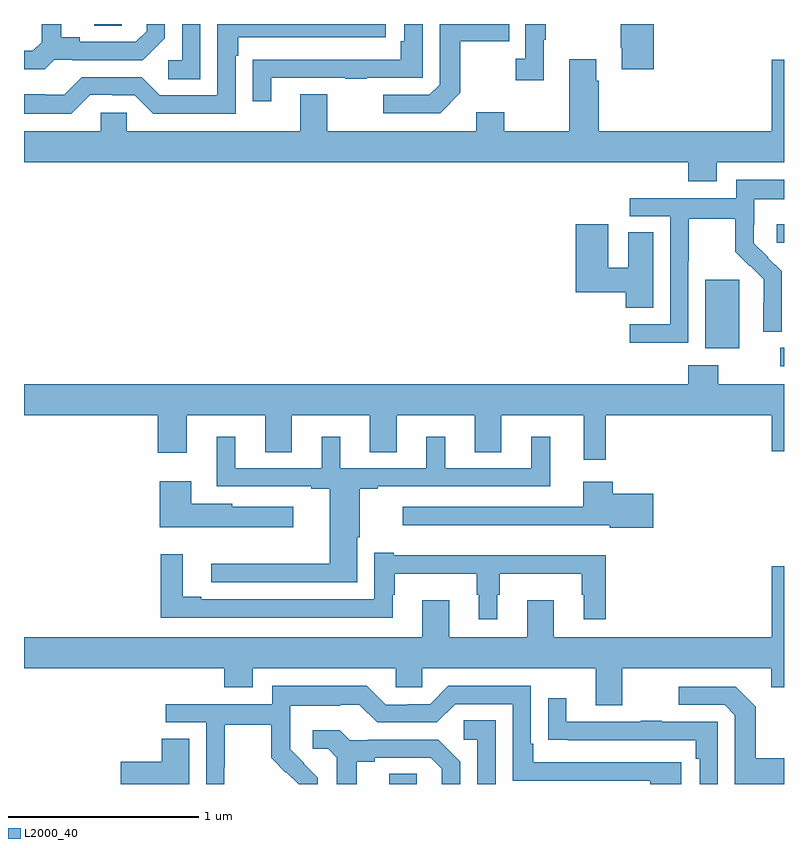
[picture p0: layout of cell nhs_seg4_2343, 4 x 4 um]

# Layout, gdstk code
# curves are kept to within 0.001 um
import gdstk
lib = gdstk.Library(unit=1e-6, precision=1e-09)
def R(c, l, rs):  # rectangles x0, y0, x1, y1
    for r in rs: c.add(gdstk.rectangle(r[:2], r[2:], *l))
def P(c, l, *ps):  # polygons
    for p in ps: c.add(gdstk.Polygon(p, *l))
L2000_40 = (2000, 40)

nhs_seg4_2343 = lib.new_cell('nhs_seg4_2343')
R(nhs_seg4_2343, L2000_40, [(234.923,774.9,235.068,774.953), (236.979,777.099,237,777.195), (236.585,777.194,236.764,777.555), (236.961,777.75,237,777.847), (233.369,778.891,233.514,778.9)])
P(nhs_seg4_2343, L2000_40, [(233.16,778.713),(233.254,778.713),(233.254,778.71),(233.626,778.71),(233.742,778.826),(233.742,778.9),(233.645,778.9),(233.645,778.863),(233.588,778.806),(233.293,778.806),(233.293,778.829),(233.197,778.829),(233.197,778.9),(233.093,778.9),(233.093,778.805),(233.046,778.758),(233,778.758),(233,778.661),(233.108,778.661)],
  [(234.301,778.617),(234.691,778.617),(234.691,778.612),(234.803,778.612),(234.803,778.617),(235.098,778.617),(235.098,778.9),(235.002,778.9),(235.002,778.81),(234.982,778.81),(234.982,778.713),(234.307,778.713),(234.307,778.712),(234.205,778.712),(234.205,778.494),(234.301,778.494)],
  [(235.735,778.817),(235.747,778.817),(235.747,778.9),(235.638,778.9),(235.638,778.718),(235.587,778.718),(235.587,778.605),(235.735,778.605)],
  [(235.297,778.537),(235.297,778.81),(235.553,778.81),(235.553,778.9),(235.188,778.9),(235.188,778.581),(235.134,778.527),(234.891,778.527),(234.891,778.431),(235.191,778.431)],
  [(233.349,778.527),(233.465,778.527),(233.465,778.524),(233.583,778.524),(233.679,778.428),(234.114,778.428),(234.114,778.733),(234.127,778.733),(234.127,778.83),(234.904,778.83),(234.904,778.9),(234.018,778.9),(234.018,778.524),(233.715,778.524),(233.619,778.62),(233.304,778.62),(233.211,778.527),(233.111,778.527),(233.111,778.531),(233,778.531),(233,778.427),(233.249,778.427)],
  [(233.928,778.9),(233.832,778.9),(233.832,778.71),(233.76,778.71),(233.76,778.609),(233.928,778.609)],
  [(236.315,778.9),(236.14,778.9),(236.14,778.774),(236.147,778.774),(236.147,778.662),(236.315,778.662)],
  [(233.403,778.434),(233.403,778.336),(233,778.336),(233,778.172),(236.495,778.172),(236.495,778.073),(236.647,778.073),(236.647,778.172),(237,778.172),(237,778.711),(236.936,778.711),(236.936,778.336),(236.024,778.336),(236.024,778.601),(236.011,778.601),(236.011,778.714),(235.871,778.714),(235.871,778.336),(235.527,778.336),(235.527,778.435),(235.379,778.435),(235.379,778.336),(234.595,778.336),(234.595,778.531),(234.455,778.531),(234.455,778.336),(233.541,778.336),(233.541,778.434)],
  [(236.496,777.652),(236.499,777.652),(236.499,777.876),(236.743,777.876),(236.743,777.701),(236.82,777.624),(236.823,777.627),(236.894,777.557),(236.894,777.434),(236.892,777.434),(236.892,777.28),(236.988,777.28),(236.988,777.598),(236.842,777.746),(236.842,777.843),(236.844,777.843),(236.844,777.977),(237,777.977),(237,778.081),(236.748,778.081),(236.748,777.984),(236.187,777.984),(236.187,777.888),(236.4,777.888),(236.4,777.321),(236.187,777.321),(236.187,777.223),(236.496,777.223)],
  [(236.311,777.803),(236.18,777.803),(236.18,777.616),(236.074,777.616),(236.074,777.847),(235.904,777.847),(235.904,777.487),(236.168,777.487),(236.168,777.406),(236.311,777.406)],
  [(236.063,776.84),(236.936,776.84),(236.936,776.652),(237,776.652),(237,777.004),(236.655,777.004),(236.655,777.103),(236.495,777.103),(236.495,777.004),(233,777.004),(233,776.84),(233.705,776.84),(233.705,776.643),(233.857,776.643),(233.857,776.84),(234.269,776.84),(234.269,776.647),(234.409,776.647),(234.409,776.84),(234.821,776.84),(234.821,776.647),(234.961,776.647),(234.961,776.84),(235.373,776.84),(235.373,776.647),(235.513,776.647),(235.513,776.84),(235.946,776.84),(235.946,776.607),(236.063,776.607)],
  [(234.754,776.199),(234.766,776.199),(234.766,776.454),(234.862,776.454),(234.862,776.466),(235.769,776.466),(235.769,776.728),(235.67,776.728),(235.67,776.562),(235.216,776.562),(235.216,776.728),(235.118,776.728),(235.118,776.562),(234.664,776.562),(234.664,776.728),(234.566,776.728),(234.566,776.562),(234.112,776.562),(234.112,776.728),(234.014,776.728),(234.014,776.466),(234.512,776.466),(234.512,776.454),(234.608,776.454),(234.608,776.06),(233.985,776.06),(233.985,775.962),(234.754,775.962)],
  [(234.418,776.359),(234.096,776.359),(234.096,776.374),(233.881,776.374),(233.881,776.494),(233.714,776.494),(233.714,776.252),(234.418,776.252)],
  [(236.311,776.427),(236.099,776.427),(236.099,776.491),(235.943,776.491),(235.943,776.358),(234.993,776.358),(234.993,776.261),(236.082,776.261),(236.082,776.249),(236.311,776.249)],
  [(235.492,775.895),(235.504,775.895),(235.504,776.006),(235.935,776.006),(235.935,775.895),(235.946,775.895),(235.946,775.767),(236.063,775.767),(236.063,776.104),(234.946,776.104),(234.946,776.116),(234.843,776.116),(234.843,775.872),(233.932,775.872),(233.932,775.885),(233.836,775.885),(233.836,776.11),(233.719,776.11),(233.719,775.776),(234.94,775.776),(234.94,775.895),(234.952,775.895),(234.952,776.006),(235.383,776.006),(235.383,775.895),(235.394,775.895),(235.394,775.767),(235.492,775.767)],
  [(236.149,775.508),(236.933,775.508),(236.933,775.409),(237,775.409),(237,776.047),(236.936,776.047),(236.936,775.672),(235.789,775.672),(235.789,775.867),(235.649,775.867),(235.649,775.672),(235.237,775.672),(235.237,775.867),(235.097,775.867),(235.097,775.672),(233,775.672),(233,775.508),(234.053,775.508),(234.053,775.409),(234.205,775.409),(234.205,775.508),(234.957,775.508),(234.957,775.41),(235.095,775.41),(235.095,775.508),(236.009,775.508),(236.009,775.314),(236.149,775.314)],
  [(234.054,774.988),(234.057,774.988),(234.057,775.212),(234.301,775.212),(234.301,775.037),(234.378,774.96),(234.381,774.963),(234.445,774.9),(234.546,774.9),(234.546,774.934),(234.4,775.082),(234.4,775.179),(234.402,775.179),(234.402,775.313),(234.665,775.313),(234.665,775.317),(234.765,775.317),(234.858,775.224),(235.173,775.224),(235.269,775.32),(235.572,775.32),(235.572,774.918),(236.297,774.918),(236.297,774.9),(236.458,774.9),(236.458,775.014),(235.681,775.014),(235.681,775.111),(235.668,775.111),(235.668,775.416),(235.233,775.416),(235.137,775.32),(235.019,775.32),(235.019,775.317),(234.903,775.317),(234.803,775.417),(234.306,775.417),(234.306,775.32),(233.745,775.32),(233.745,775.224),(233.958,775.224),(233.958,774.9),(234.054,774.9)],
  [(237,775.035),(236.851,775.035),(236.851,775.307),(236.745,775.413),(236.445,775.413),(236.445,775.317),(236.688,775.317),(236.742,775.263),(236.742,774.9),(237,774.9)],
  [(236.652,775.227),(236.357,775.227),(236.357,775.232),(236.245,775.232),(236.245,775.227),(235.855,775.227),(235.855,775.351),(235.759,775.351),(235.759,775.132),(235.861,775.132),(235.861,775.131),(236.536,775.131),(236.536,775.034),(236.556,775.034),(236.556,774.9),(236.652,774.9)],
  [(235.482,775.235),(235.314,775.235),(235.314,775.134),(235.386,775.134),(235.386,774.9),(235.482,774.9)],
  [(234.751,775.016),(234.847,775.016),(234.847,775.038),(235.142,775.038),(235.199,774.981),(235.199,774.9),(235.296,774.9),(235.296,775.018),(235.18,775.134),(234.808,775.134),(234.808,775.131),(234.714,775.131),(234.662,775.183),(234.519,775.183),(234.519,775.086),(234.6,775.086),(234.647,775.039),(234.647,774.9),(234.751,774.9)],
  [(233.869,775.139),(233.726,775.139),(233.726,775.016),(233.508,775.016),(233.508,774.9),(233.869,774.9)])

lib.write_gds('nhs_seg4_2343.gds')
